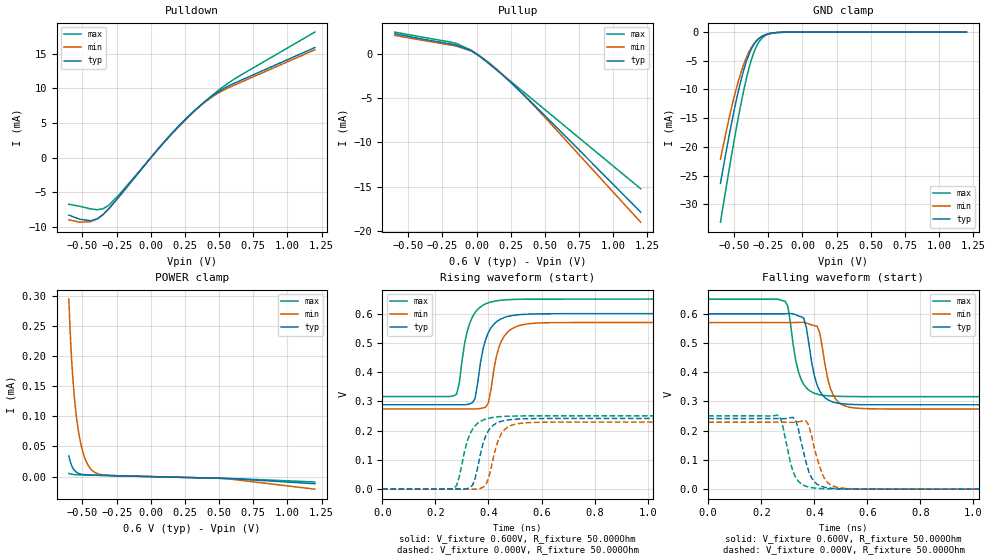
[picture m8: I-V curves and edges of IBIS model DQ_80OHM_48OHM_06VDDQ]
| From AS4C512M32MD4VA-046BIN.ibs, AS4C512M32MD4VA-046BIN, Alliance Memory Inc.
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|   MODEL: DQ_80OHM_48OHM_06VDDQ
[Model]   DQ_80OHM_48OHM_06VDDQ
Model_type   I/O
Polarity   Non-Inverting
Enable   Active-High
Vinl   = 0.080V
Vinh   = 0.220V
Vmeas   = 0.150V
Vref   = 0.150V
Cref   = 0.000pF
Rref   = 50.000Ohm
|   typ   min   max
C_comp   0.875pF   0.788pF   0.963pF
[Voltage Range]   0.600V   0.570V   0.650V
[Temperature Range]   25.0   85.0   -40.0
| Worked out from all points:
|   slope of the pulldown table from 0 to 0.09 V, typ, clamps not added: 42.7 ohm
|   slope of the pullup table from 0 to 0.09 V, typ, clamps not added: 85.1 ohm
|   GND clamp passes 1 mA (typ) near -0.31 V on its own axis
|   rising waveform, V_fixture 0.600V, R_fixture 50.000Ohm: 20-80 % time 43.8ps typ, 43.6ps min, 44.1ps max; typ from 0.288 V to 0.6 V
|   falling waveform, V_fixture 0.600V, R_fixture 50.000Ohm: 20-80 % time 40.6ps typ, 40.8ps min, 39.8ps max; typ from 0.6 V to 0.289 V
|   rising waveform, V_fixture 0.000V, R_fixture 50.000Ohm: 20-80 % time 43.4ps typ, 42.7ps min, 45.5ps max; typ from 0 V to 0.242 V
|   falling waveform, V_fixture 0.000V, R_fixture 50.000Ohm: 20-80 % time 42ps typ, 43.9ps min, 40.1ps max; typ from 0.242 V to 0 V
[Pulldown]
|   Voltage   I(typ)   I(min)   I(max)
-600mV    -8.28mA    -8.954mA   -6.714mA
-520mV    -8.867mA   -9.297mA   -7.003mA
-440mV    -9.092mA   -9.223mA   -7.384mA
-390mV    -8.791mA   -8.797mA   -7.506mA
-350mV    -8.222mA   -8.197mA   -7.36mA
-310mV    -7.428mA   -7.411mA   -6.891mA
-230mV    -5.563mA   -5.563mA   -5.289mA
130mV     2.999mA    2.984mA    2.912mA
270mV     5.881mA    5.837mA    5.784mA
400mV     8.157mA    8.058mA    8.169mA
580mV     10.46mA    10.19mA    10.93mA
1.2V      15.87mA    15.55mA    18.11mA
[Pullup]
|   Voltage   I(typ)   I(min)   I(max)
-600mV    2.295mA    2.104mA    2.481mA
-150mV    1.015mA    894.4uA    1.202mA
-40mV     380.4uA    335.1uA    430.4uA
70mV      -807.4uA   -742.4uA   -846.5uA
210mV     -2.672mA   -2.598mA   -2.601mA
400mV     -5.461mA   -5.538mA   -5.023mA
1.2V      -17.89mA   -19.03mA   -15.25mA
[GND Clamp]
|   Voltage   I(typ)   I(min)   I(max)
-600mV    -26.36mA   -22.19mA   -33.14mA
-550mV    -19.73mA   -16.43mA   -25.84mA
-510mV    -14.79mA   -12.27mA   -20.24mA
-470mV    -10.36mA   -8.615mA   -14.96mA
-430mV    -6.627mA   -5.609mA   -10.17mA
-390mV    -3.805mA   -3.349mA   -6.151mA
-360mV    -2.341mA   -2.151mA   -3.819mA
-320mV    -1.14mA    -1.122mA   -1.755mA
-280mV    -524.1uA   -555.5uA   -715.7uA
-230mV    -184.4uA   -215.6uA   -213.3uA
-140mV    -20.29uA   -29.99uA   -17.96uA
1.2V      6.836uA    7.386uA    6.714uA
[POWER Clamp]
|   Voltage   I(typ)   I(min)   I(max)
-600mV    34.27uA    294.1uA    5.169uA
-590mV    25uA       238.9uA    4.47uA
-570mV    13.84uA    160.6uA    3.674uA
-560mV    10.58uA    132.6uA    3.444uA
-540mV    6.655uA    91.24uA    3.146uA
-520mV    4.678uA    62.84uA    2.957uA
-490mV    3.339uA    35.2uA     2.748uA
-460mV    2.772uA    19.1uA     2.569uA
-420mV    2.39uA     8.47uA     2.342uA
-300mV    1.671uA    1.938uA    1.671uA
560mV     -3.13uA    -3.595uA   -3.086uA
1.2V      -11.8uA    -20.82uA   -8.926uA
[Ramp]
R_load = 50.000Ohm
|   typ   min   max
dV/dt_r   0.187V/50.000ps   0.177V/50.000ps   0.200V/40.000ps
dV/dt_f   0.187V/40.000ps   0.177V/40.000ps   0.200V/40.000ps
|Slew_r   3.738V/ns   3.549V/ns   5.003V/ns
|Slew_f   4.670V/ns   4.434V/ns   5.000V/ns
[Rising Waveform]
V_fixture = 0.600V
V_fixture_min = 0.570V
V_fixture_max = 0.650V
R_fixture = 50.000Ohm
L_fixture = 0.000nH
C_fixture = 0.000pF
|dV/dt_r   0.187V/50.000ps   0.177V/50.000ps   0.200V/40.000ps
|Slew_r   3.738V/ns   3.549V/ns   5.003V/ns
|   Time   V(typ)   V(min)   V(max)
0s        288.5mV    274.2mV    316.5mV
280ps     288.6mV    274.2mV    325mV
310ps     288.4mV    274.3mV    498.3mV
340ps     295.5mV    274.3mV    589.7mV
350ps     312.1mV    274.2mV    604.7mV
390ps     513.8mV    280.8mV    634mV
440ps     578.4mV    486.5mV    645.2mV
470ps     589.9mV    535.3mV    647.7mV
630ps     599.7mV    569.1mV    649.9mV
5ns       600mV      570mV      650mV
[Falling Waveform]
V_fixture = 0.600V
V_fixture_min = 0.570V
V_fixture_max = 0.650V
R_fixture = 50.000Ohm
L_fixture = 0.000nH
C_fixture = 0.000pF
|dV/dt_f   0.187V/40.000ps   0.177V/40.000ps   0.200V/40.000ps
|Slew_f   4.670V/ns   4.434V/ns   5.000V/ns
|   Time   V(typ)   V(min)   V(max)
0s        599.9mV    569.9mV    649.9mV
290ps     600.1mV    569.9mV    642.8mV
300ps     600.5mV    569.9mV    626.6mV
330ps     596.6mV    570.1mV    440.1mV
360ps     585.6mV    570.5mV    358.7mV
410ps     357.6mV    557.9mV    325.3mV
450ps     306.4mV    380.1mV    319.5mV
500ps     292.7mV    291.4mV    317.4mV
610ps     288.8mV    275mV      316.5mV
5ns       288.5mV    274.3mV    316.5mV
[Rising Waveform]
V_fixture = 0.000V
V_fixture_min = 0.000V
V_fixture_max = 0.000V
R_fixture = 50.000Ohm
L_fixture = 0.000nH
C_fixture = 0.000pF
|dV/dt_r   0.145V/40.000ps   0.138V/40.000ps   0.150V/40.000ps
|Slew_r   3.625V/ns   3.439V/ns   3.760V/ns
|   Time   V(typ)   V(min)   V(max)
0s        4.341uV    12.86uV    1.859uV
270ps     45.67uV    14.08uV    3.253mV
290ps     -157.7uV   37.26uV    42.75mV
330ps     5.6mV      -131.1uV   188.5mV
350ps     37.9mV     -219.4uV   217.1mV
390ps     182.7mV    14.37mV    239.5mV
450ps     232.5mV    191.4mV    248.2mV
500ps     239mV      221.7mV    249.8mV
630ps     241.5mV    229mV      250.6mV
5ns       241.6mV    229.3mV    250.6mV
[Falling Waveform]
V_fixture = 0.000V
V_fixture_min = 0.000V
V_fixture_max = 0.000V
R_fixture = 50.000Ohm
L_fixture = 0.000nH
C_fixture = 0.000pF
|dV/dt_f   0.145V/40.000ps   0.138V/50.000ps   0.150V/40.000ps
|Slew_f   3.624V/ns   2.751V/ns   3.759V/ns
|   Time   V(typ)   V(min)   V(max)
0s        241.6mV    229.3mV    250.6mV
270ps     241.2mV    229.4mV    248mV
320ps     245.4mV    228.6mV    59.7mV
340ps     206mV      230.2mV    26.97mV
370ps     87.96mV    232.2mV    9.423mV
390ps     38.12mV    181.1mV    5.21mV
420ps     12.24mV    77.78mV    2.224mV
460ps     3.532mV    15.31mV    900.6uV
570ps     280.5uV    702.8uV    70.09uV
5ns       4.764uV    13.22uV    2.275uV
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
